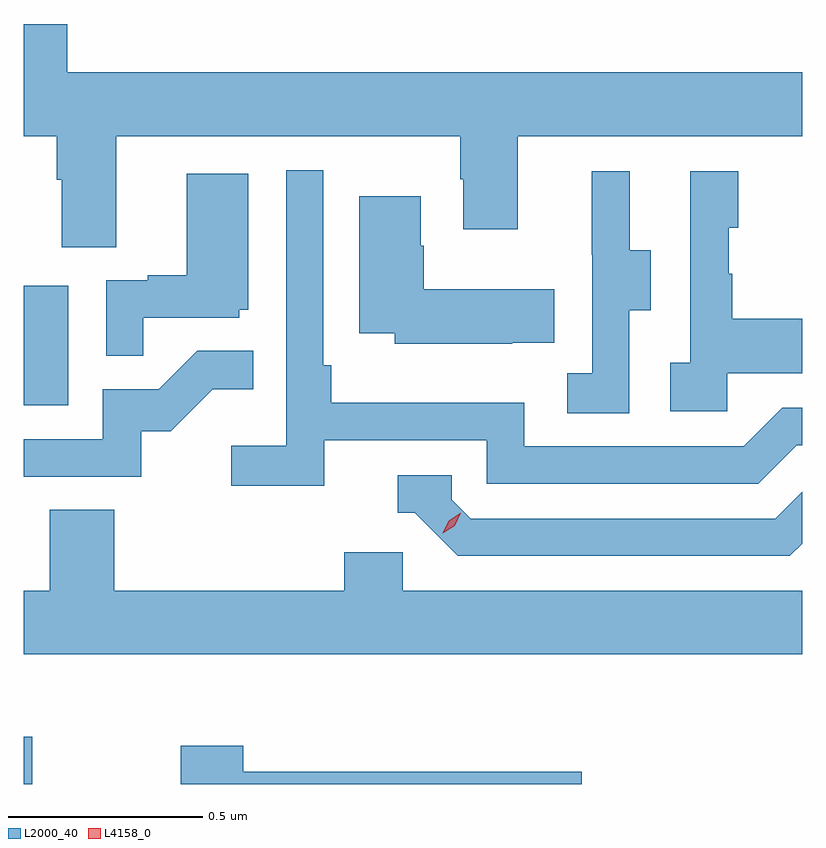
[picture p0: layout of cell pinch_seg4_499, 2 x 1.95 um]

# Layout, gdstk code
import gdstk
lib = gdstk.Library(unit=1e-6, precision=1e-09)
def R(c, l, rs):  # rectangles x0, y0, x1, y1
    for r in rs: c.add(gdstk.rectangle(r[:2], r[2:], *l))
def P(c, l, *ps):  # polygons
    for p in ps: c.add(gdstk.Polygon(p, *l))
L2000_40 = (2000, 40)
L4158_0 = (4158, 0)

pinch_seg4_499 = lib.new_cell('pinch_seg4_499')
R(pinch_seg4_499, L2000_40, [(936.154,751.199,936.175,751.32), (936.154,752.172,936.268,752.479)])
P(pinch_seg4_499, L2000_40, [(936.391,752.864),(937.276,752.864),(937.276,752.753),(937.283,752.753),(937.283,752.625),(937.423,752.625),(937.423,752.864),(938.154,752.864),(938.154,753.028),(936.266,753.028),(936.266,753.152),(936.154,753.152),(936.154,752.864),(936.239,752.864),(936.239,752.752),(936.251,752.752),(936.251,752.578),(936.391,752.578)],
  [(936.926,752.082),(937.344,752.082),(937.344,751.971),(938.041,751.971),(938.14,752.07),(938.154,752.07),(938.154,752.166),(938.103,752.166),(938.004,752.067),(937.44,752.067),(937.44,752.179),(936.944,752.179),(936.944,752.275),(936.924,752.275),(936.924,752.776),(936.828,752.776),(936.828,752.068),(936.687,752.068),(936.687,751.966),(936.926,751.966)],
  [(937.71,752.416),(937.765,752.416),(937.765,752.571),(937.711,752.571),(937.711,752.773),(937.613,752.773),(937.613,752.559),(937.614,752.559),(937.614,752.255),(937.551,752.255),(937.551,752.152),(937.71,752.152)],
  [(937.962,752.255),(938.154,752.255),(938.154,752.395),(937.975,752.395),(937.975,752.51),(937.965,752.51),(937.965,752.628),(937.99,752.628),(937.99,752.773),(937.866,752.773),(937.866,752.282),(937.815,752.282),(937.815,752.157),(937.962,752.157)],
  [(936.461,752.397),(936.708,752.397),(936.708,752.418),(936.73,752.418),(936.73,752.767),(936.572,752.767),(936.572,752.506),(936.473,752.506),(936.473,752.493),(936.366,752.493),(936.366,752.299),(936.461,752.299)],
  [(937.409,752.333),(937.517,752.333),(937.517,752.47),(937.182,752.47),(937.182,752.582),(937.174,752.582),(937.174,752.71),(937.016,752.71),(937.016,752.357),(937.107,752.357),(937.107,752.33),(937.409,752.33)],
  [(936.456,752.106),(936.532,752.106),(936.639,752.213),(936.743,752.213),(936.743,752.312),(936.599,752.312),(936.501,752.214),(936.357,752.214),(936.357,752.085),(936.154,752.085),(936.154,751.989),(936.456,751.989)],
  [(938.154,751.817),(938.154,751.95),(938.085,751.881),(937.302,751.881),(937.254,751.929),(937.254,751.992),(937.115,751.992),(937.115,751.896),(937.158,751.896),(937.269,751.785),(938.122,751.785)],
  [(938.154,751.696),(937.128,751.696),(937.128,751.794),(936.977,751.794),(936.977,751.696),(936.386,751.696),(936.386,751.904),(936.221,751.904),(936.221,751.696),(936.154,751.696),(936.154,751.532),(938.154,751.532)],
  [(937.588,751.231),(936.718,751.231),(936.718,751.297),(936.557,751.297),(936.557,751.199),(937.588,751.199)])
P(pinch_seg4_499, L4158_0, [(937.23,751.843),(937.23,751.844),(937.246,751.876),(937.277,751.896),(937.277,751.896),(937.277,751.896),(937.261,751.863),(937.23,751.843)])

lib.write_gds('pinch_seg4_499.gds')
